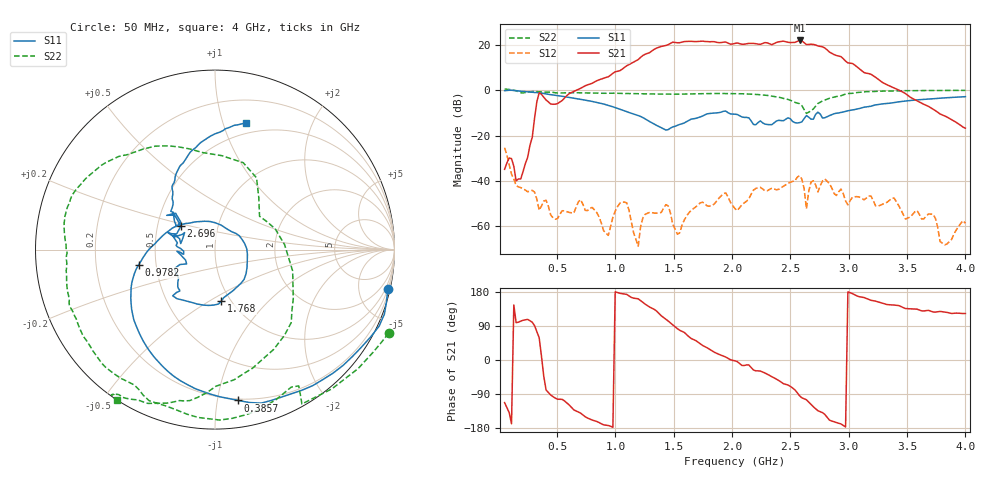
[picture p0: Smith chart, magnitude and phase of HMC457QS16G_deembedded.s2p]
!Hittite Microwave Corporation
!20 Alpha Road
!Chelmsford, MA 01824
!Tel: 978-250-3343
!Fax: 978-250-3373
!Device: HMC457QS16G, 1.7-2.2 GHz, InGaP HBT 1 Watt Power Amplifier in 8-lead plastic SMT package with ground base
!Misc: Vs = +5V, Vpd = +5V, Vbias = +5V, Room
# MHZ S MA R 50
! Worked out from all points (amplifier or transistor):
!   201 points, 50 MHz to 4 GHz, reference 50 ohm
!   highest |S21| = 22.1 dB at 2.578 GHz (marker M1)
!   |S21| within 3 dB of that: 1.373 GHz to 2.782 GHz (1.409 GHz wide, 67.8 % of centre)
!   unconditionally stable (mu >= 1): 145.6 MHz to 3.86 GHz; 3.883 GHz to 3.919 GHz
!   at 701.8 MHz: K = 15.43, MAG = 9.7 dB, |S12| = -48.3 dB
!   at 2.025 GHz: K = 4.82, MAG = 26.8 dB, |S12| = -52.3 dB
!   at 4 GHz: K = -4.89, MSG = 21.0 dB, |S12| = -58.8 dB
!   S11 on the Smith chart (normalised r, x): 50 MHz: 0.47, -8.75; 385.8 MHz: 0.19, -1.15; 978.2 MHz: 0.40, -0.08; 1.768 GHz: 0.90, -0.57; 2.696 GHz: 0.66, +0.18; 4 GHz: 0.40, +1.20
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50  0.988 -13.0  0.018 -112.5  0.054 129.2  1.074 -25.7
188.25  0.962 -42.1  0.011 102.7  0.007065 -126.5  0.891 -58.5
346.25  0.893 -73.3  0.888 58.8  0.002241 -172.8  0.94 -95.7
385.75  0.85 -81.3  0.706 -43.1  0.003575 77.9  0.918 -103.8
721.5  0.622 -133.5  1.192 -145.1  0.003019 160.7  0.88 -142.0
978.25  0.434 -168.7  2.39 -177.6  0.001565 94.1  0.868 -158.3
1195.5  0.278 158.0  4.815 161.4  0.0003588 -107.9  0.846 -167.8
1373.25  0.159 100.0  9.029 122.8  0.001966 120.5  0.829 -174.8
1491.75  0.156 29.7  11.69 92.6  0.001088 152.4  0.824 -178.6
1610.25  0.204 -28.9  12.13 67.2  0.001672 119.3  0.832 177.5
1768.25  0.289 -83.0  12.11 35.1  0.003053 136.4  0.849 171.8
1946  0.349 -132.5  11.74 7.7  0.00541 168.7  0.856 164.4
2025  0.298 -133.0  10.97 -2.2  0.00243 156.0  0.853 160.7
2281.75  0.18 -171.7  11.42 -34.3  0.006011 120.2  0.788 143.3
2400.25  0.218 173.7  11.89 -54.1  0.006503 165.8  0.706 129.9
2518.75  0.206 163.0  11.51 -73.9  0.00973 135.1  0.578 104.1
2578  0.194 150.8  12.74 -94.3  0.013 139.3  0.509 72.0
2696.5  0.231 145.1  10.43 -123.3  0.01 129.6  0.389 4.0
2834.75  0.277 144.7  7.045 -158.7  0.008674 87.6  0.669 -67.4
2973  0.344 132.8  4.438 -176.7  0.003587 80.3  0.83 -96.8
3348.25  0.52 109.3  1.263 145.7  0.0037 45.9  0.97 -122.4
4000  0.727 76.1  0.146 122.7  0.001152 1.6  1.002 -123.1
